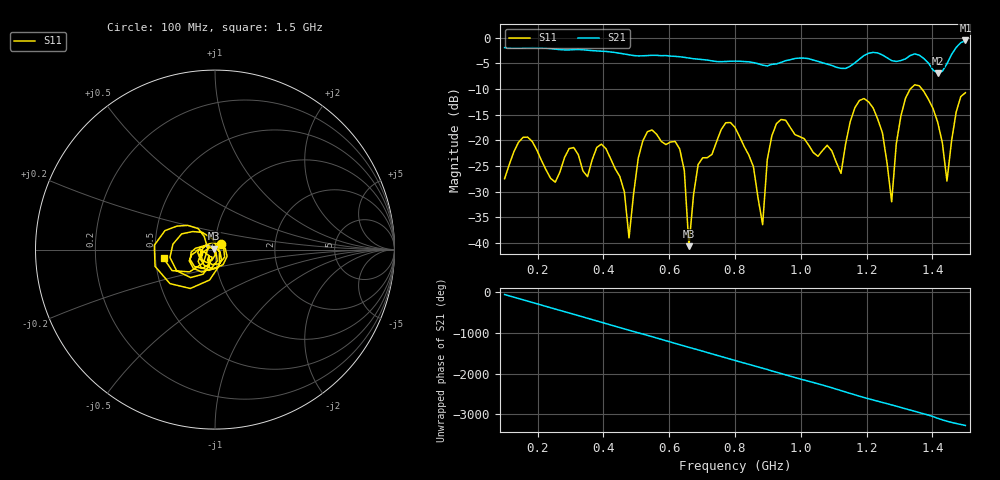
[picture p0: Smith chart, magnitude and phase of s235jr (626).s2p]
! NanoVNA-App
! Date: 2025-09-25 15:09:02
! Start: 100MHz Stop: 1,5GHz Points: 101
! S-Parameter data: F S11 S21 S12 S22
# Hz S RI R 50
!  Frequency  S11_Real  S11_Imag  S21_Real  S21_Imag  S12_Real  S12_Imag  S22_Real  S22_Imag
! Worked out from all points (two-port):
!   101 points, 100 MHz to 1.5 GHz, reference 50 ohm
!   highest |S21| = -0.57 dB at 1.5 GHz (marker M1); lowest = -6.9 dB at 1.416 GHz (marker M2)
!   |S21| within 3 dB of the highest: start of sweep to 504.5 MHz; 510.6 MHz to 598.2 MHz (87.65 MHz wide, 15.8 % of centre) (the widest 2 of 5)
!   lowest |S11| = -40.6 dB at 660 MHz (marker M3), VSWR 1.02, Z = 49.3 + j0.585 ohm
!   |S11| at or under -10 dB: start of sweep to 1.333 GHz; 1.368 GHz to end of sweep
!   S12 and S22 are empty: the file has one direction only
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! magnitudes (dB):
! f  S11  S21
! 100 MHz  -27.5  -2.0
! 156 MHz  -19.4  -2.0
! 338 MHz  -26.0  -2.4
! 408 MHz  -21.6  -2.7
! 478 MHz  -39.0  -3.4
! 520 MHz  -20.1  -3.6
! 576 MHz  -20.2  -3.5
! 632 MHz  -21.7  -3.7
! 660 MHz  -40.6  -4.0
! 688 MHz  -24.7  -4.2
! 800 MHz  -17.5  -4.6
! 884 MHz  -36.4  -5.4
! 926 MHz  -16.8  -5.1
! 1.038 GHz  -22.4  -4.4
! 1.122 GHz  -26.4  -6.0
! 1.192 GHz  -11.9  -3.5
! 1.248 GHz  -18.6  -3.4
! 1.276 GHz  -32.0  -4.5
! 1.332 GHz  -10.0  -3.5
! 1.416 GHz  -16.5  -6.9
! 1.444 GHz  -27.9  -5.1
! 1.5 GHz  -10.7  -0.6
